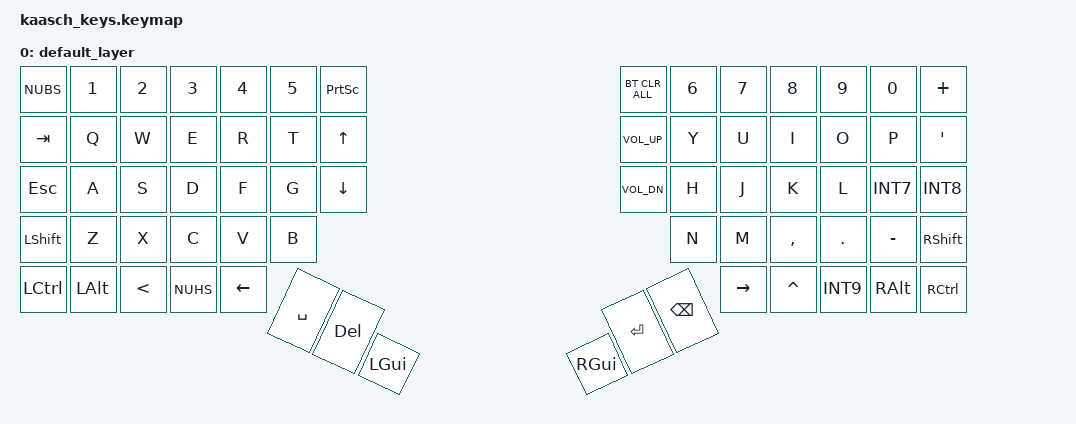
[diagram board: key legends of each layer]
#include <behaviors.dtsi>
#include <dt-bindings/zmk/keys.h>
#include <dt-bindings/zmk/bt.h>
#include "keys_da.h"

/ {
    keymap {
        compatible = "zmk,keymap";

        default_layer {
            bindings = <
				&kp NUBS   &kp N1	&kp N2   &kp N3   &kp N4   &kp N5   &kp PSCRN               &bt BT_CLR_ALL &kp N6   &kp N7   &kp N8    &kp N9   &kp N0    &kp PLUS
                &kp TAB    &kp Q    &kp W    &kp E    &kp R    &kp T    &kp UP                  &kp C_VOL_UP   &kp Y    &kp U    &kp I     &kp O    &kp P     &kp APOS
                &kp ESC    &kp A    &kp S    &kp D    &kp F    &kp G    &kp DOWN                &kp C_VOL_DN   &kp H    &kp J    &kp K     &kp L    &kp INT7  &kp INT8
                &kp LSHIFT &kp Z    &kp X    &kp C    &kp V    &kp B         &kp DELETE    &kp RETURN          &kp N    &kp M    &kp COMMA &kp DOT  &kp MINUS &kp RSHIFT
                &kp LCTRL  &kp LALT &kp LT   &kp NUHS &kp LEFT &kp SPACE &kp LGUI          &kp RGUI     &kp BSPC       &kp RIGHT &kp CARET &kp INT9 &kp RALT  &kp RCTRL
            >;
        };
    };
};
